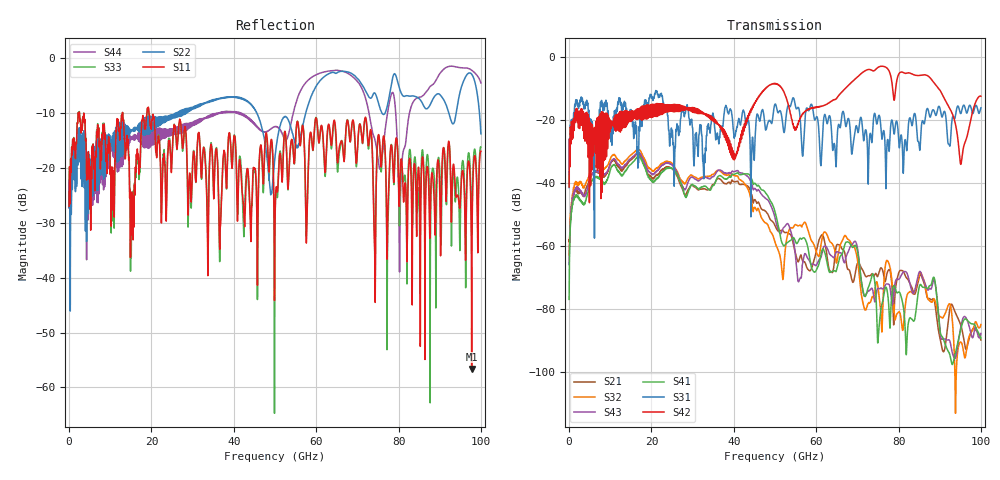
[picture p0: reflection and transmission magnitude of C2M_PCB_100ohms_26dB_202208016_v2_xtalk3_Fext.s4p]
! Info: Touchstone file created by Circ.  Input file=Intel_C2M_200G_11p0in_202208016_staggered.circ
# Hz S RI R 50
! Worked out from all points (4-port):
!   10000 points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, 10 MHz to 100 GHz, reference 50 ohm
!   strongest paths, dB at 10 MHz, 25.01 GHz, 50.01 GHz, 75.01 GHz, 100 GHz:
!     S42: -41.4, -15.4, -8.7, -3.4, -12.6
!     S31: -41.5, -24.2, -15.1, -19.7, -16.2
!     S41: -77.0, -35.4, -49.2, -90.3, -89.2
!     S43: -65.9, -34.2, -51.1, -73.5, -87.8
!     S32: -62.9, -33.9, -58.7, -73.1, -85.0
!     S21: -58.2, -35.4, -53.6, -69.5, -89.9
!   lowest |S11| = -56.6 dB at 97.76 GHz (marker M1), VSWR 1.00, Z = 50.1 - j0.0534 ohm
!   |S11| at or under -10 dB: 2.519 GHz to 12.95 GHz (10.43 GHz wide, 135 % of centre); 13 GHz to 18.91 GHz (5.905 GHz wide, 37 % of centre); 19.39 GHz to end of sweep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
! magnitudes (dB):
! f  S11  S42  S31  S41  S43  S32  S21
! 10 MHz  -27.0  -41.4  -41.5  -77.0  -65.9  -62.9  -58.2
! 1.45 GHz  -16.5  -19.7  -15.5  -44.7  -42.8  -40.6  -42.8
! 16.83 GHz  -17.7  -17.6  -32.7  -31.9  -30.4  -29.5  -30.9
! 66.18 GHz  -15.1  -11.3  -19.2  -62.9  -62.5  -58.8  -60.8
! 80.36 GHz  -21.9  -5.1  -27.1  -75.0  -70.2  -81.4  -67.9
! 97.76 GHz  -56.6  -18.7  -17.0  -84.7  -88.6  -87.3  -86.9
! 100 GHz  -16.9  -12.6  -16.2  -89.2  -87.8  -85.0  -89.9
